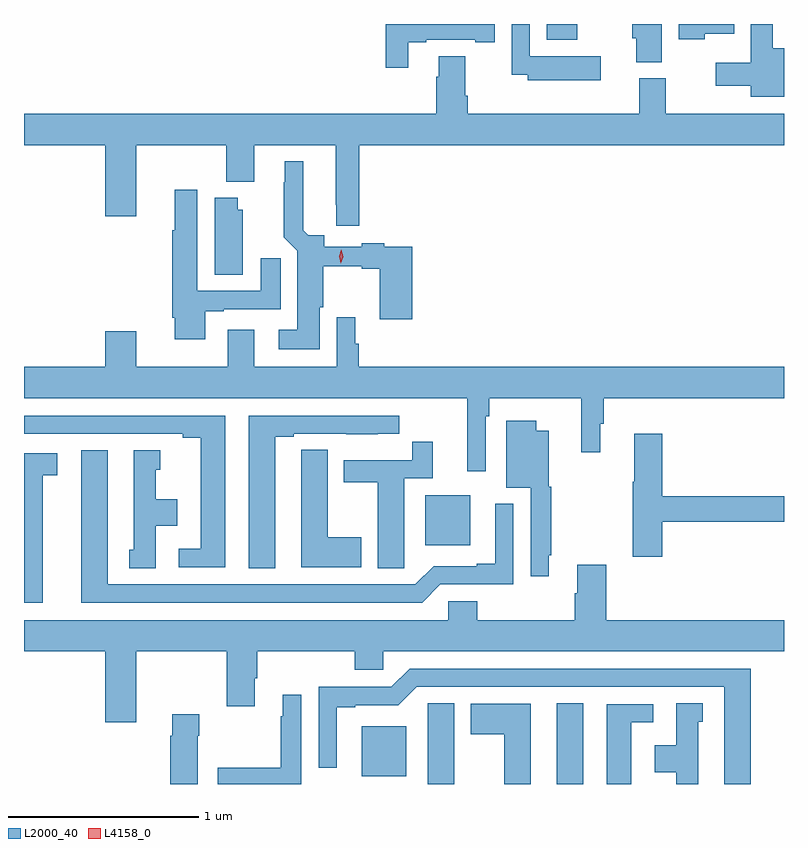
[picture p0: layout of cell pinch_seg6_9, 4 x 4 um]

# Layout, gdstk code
import gdstk
lib = gdstk.Library(unit=1e-6, precision=1e-09)
def R(c, l, rs):  # rectangles x0, y0, x1, y1
    for r in rs: c.add(gdstk.rectangle(r[:2], r[2:], *l))
def P(c, l, *ps):  # polygons
    for p in ps: c.add(gdstk.Polygon(p, *l))
L2000_40 = (2000, 40)
L4158_0 = (4158, 0)

pinch_seg6_9 = lib.new_cell('pinch_seg6_9')
R(pinch_seg6_9, L2000_40, [(1090.46,966.617,1090.6,967.043), (1089.434,966.659,1089.67,966.922), (1089.77,967.874,1090.006,968.137), (1090.409,970.535,1090.57,970.617)])
P(pinch_seg6_9, L2000_40, [(1090.693,970.447),(1090.32,970.447),(1090.32,970.617),(1090.224,970.617),(1090.224,970.349),(1090.308,970.349),(1090.308,970.322),(1090.693,970.322)],
  [(1091.657,970.489),(1091.599,970.489),(1091.599,970.617),(1091.483,970.617),(1091.483,970.414),(1091.298,970.414),(1091.298,970.292),(1091.483,970.292),(1091.483,970.235),(1091.657,970.235)],
  [(1091.014,970.617),(1090.859,970.617),(1090.859,970.542),(1090.88,970.542),(1090.88,970.417),(1091.014,970.417)],
  [(1089.679,970.521),(1089.775,970.521),(1089.775,970.533),(1090.031,970.533),(1090.031,970.521),(1090.135,970.521),(1090.135,970.617),(1089.562,970.617),(1089.562,970.386),(1089.679,970.386)],
  [(1091.241,970.565),(1091.395,970.565),(1091.395,970.617),(1091.102,970.617),(1091.102,970.538),(1091.241,970.538)],
  [(1089.422,969.98),(1091.657,969.98),(1091.657,970.144),(1091.035,970.144),(1091.035,970.332),(1090.895,970.332),(1090.895,970.144),(1089.992,970.144),(1089.992,970.24),(1089.979,970.24),(1089.979,970.448),(1089.839,970.448),(1089.839,970.34),(1089.827,970.34),(1089.827,970.144),(1087.657,970.144),(1087.657,969.98),(1088.084,969.98),(1088.084,969.606),(1088.248,969.606),(1088.248,969.98),(1088.722,969.98),(1088.722,969.788),(1088.869,969.788),(1088.869,969.98),(1089.299,969.98),(1089.299,969.667),(1089.3,969.667),(1089.3,969.555),(1089.422,969.555)],
  [(1089.214,969.126),(1089.232,969.126),(1089.232,969.343),(1089.434,969.343),(1089.434,969.328),(1089.53,969.328),(1089.53,969.063),(1089.701,969.063),(1089.701,969.444),(1089.554,969.444),(1089.554,969.464),(1089.434,969.464),(1089.434,969.444),(1089.237,969.444),(1089.237,969.504),(1089.154,969.504),(1089.127,969.532),(1089.127,969.895),(1089.029,969.895),(1089.029,969.785),(1089.025,969.785),(1089.025,969.494),(1089.095,969.424),(1089.095,969.007),(1088.997,969.007),(1088.997,968.906),(1089.214,968.906)],
  [(1088.611,969.105),(1088.707,969.105),(1088.707,969.117),(1089.007,969.117),(1089.007,969.385),(1088.903,969.385),(1088.903,969.213),(1088.569,969.213),(1088.569,969.745),(1088.45,969.745),(1088.45,969.532),(1088.438,969.532),(1088.438,969.07),(1088.45,969.07),(1088.45,968.958),(1088.611,968.958)],
  [(1088.809,969.639),(1088.782,969.639),(1088.782,969.703),(1088.66,969.703),(1088.66,969.298),(1088.809,969.298)],
  [(1090.086,968.552),(1090.106,968.552),(1090.106,968.648),(1090.591,968.648),(1090.591,968.364),(1090.69,968.364),(1090.69,968.514),(1090.709,968.514),(1090.709,968.648),(1091.657,968.648),(1091.657,968.812),(1089.419,968.812),(1089.419,968.934),(1089.4,968.934),(1089.4,969.073),(1089.303,969.073),(1089.303,968.812),(1088.869,968.812),(1088.869,969.007),(1088.729,969.007),(1088.729,968.812),(1088.248,968.812),(1088.248,969.001),(1088.084,969.001),(1088.084,968.812),(1087.657,968.812),(1087.657,968.648),(1089.989,968.648),(1089.989,968.262),(1090.086,968.262)],
  [(1088.716,968.556),(1087.657,968.556),(1087.657,968.46),(1088.492,968.46),(1088.492,968.44),(1088.588,968.44),(1088.588,967.854),(1088.472,967.854),(1088.472,967.758),(1088.716,967.758)],
  [(1088.98,968.445),(1089.076,968.445),(1089.076,968.46),(1089.352,968.46),(1089.352,968.459),(1089.518,968.459),(1089.518,968.46),(1089.631,968.46),(1089.631,968.556),(1088.84,968.556),(1088.84,967.753),(1088.98,967.753)],
  [(1090.42,967.822),(1090.432,967.822),(1090.432,968.181),(1090.42,968.181),(1090.42,968.476),(1090.354,968.476),(1090.354,968.53),(1090.196,968.53),(1090.196,968.177),(1090.323,968.177),(1090.323,967.71),(1090.42,967.71)],
  [(1091.015,967.996),(1091.657,967.996),(1091.657,968.132),(1091.015,968.132),(1091.015,968.461),(1090.868,968.461),(1090.868,968.209),(1090.861,968.209),(1090.861,967.812),(1091.015,967.812)],
  [(1089.657,967.864),(1089.658,967.864),(1089.658,968.226),(1089.809,968.226),(1089.809,968.419),(1089.7,968.419),(1089.7,968.322),(1089.341,968.322),(1089.341,968.206),(1089.518,968.206),(1089.518,967.753),(1089.657,967.753)],
  [(1089.433,967.917),(1089.256,967.917),(1089.256,968.375),(1089.117,968.375),(1089.117,968.267),(1089.116,968.267),(1089.116,967.757),(1089.433,967.757)],
  [(1089.849,967.668),(1090.233,967.668),(1090.233,968.092),(1090.136,968.092),(1090.136,967.777),(1090.04,967.777),(1090.04,967.764),(1089.813,967.764),(1089.717,967.668),(1088.098,967.668),(1088.098,968.374),(1087.958,968.374),(1087.958,967.572),(1089.753,967.572)],
  [(1088.35,967.976),(1088.464,967.976),(1088.464,968.116),(1088.35,968.116),(1088.35,968.271),(1088.374,968.271),(1088.374,968.374),(1088.234,968.374),(1088.234,967.851),(1088.21,967.851),(1088.21,967.753),(1088.35,967.753)],
  [(1087.756,968.242),(1087.831,968.242),(1087.831,968.358),(1087.657,968.358),(1087.657,967.572),(1087.756,967.572)],
  [(1088.248,967.316),(1088.725,967.316),(1088.725,967.026),(1088.872,967.026),(1088.872,967.174),(1088.885,967.174),(1088.885,967.316),(1089.398,967.316),(1089.398,967.218),(1089.549,967.218),(1089.549,967.316),(1091.657,967.316),(1091.657,967.48),(1090.721,967.48),(1090.721,967.771),(1090.568,967.771),(1090.568,967.622),(1090.556,967.622),(1090.556,967.48),(1090.043,967.48),(1090.043,967.578),(1089.891,967.578),(1089.891,967.48),(1087.657,967.48),(1087.657,967.316),(1088.084,967.316),(1088.084,966.942),(1088.248,966.942)],
  [(1091.482,967.224),(1089.687,967.224),(1089.591,967.128),(1089.207,967.128),(1089.207,966.702),(1089.304,966.702),(1089.304,967.02),(1089.4,967.02),(1089.4,967.032),(1089.627,967.032),(1089.723,967.128),(1091.342,967.128),(1091.342,966.617),(1091.482,966.617)],
  [(1089.117,967.087),(1089.02,967.087),(1089.02,966.974),(1089.009,966.974),(1089.009,966.702),(1088.676,966.702),(1088.676,966.617),(1089.117,966.617)],
  [(1089.922,967.043),(1089.783,967.043),(1089.783,966.932),(1089.782,966.932),(1089.782,966.617),(1089.922,966.617)],
  [(1091.206,966.945),(1091.23,966.945),(1091.23,967.043),(1091.09,967.043),(1091.09,966.82),(1090.976,966.82),(1090.976,966.68),(1091.09,966.68),(1091.09,966.617),(1091.206,966.617)],
  [(1090.324,967.039),(1090.007,967.039),(1090.007,966.88),(1090.184,966.88),(1090.184,966.617),(1090.324,966.617)],
  [(1090.852,966.942),(1090.969,966.942),(1090.969,967.038),(1090.724,967.038),(1090.724,966.617),(1090.852,966.617)],
  [(1088.572,966.872),(1088.58,966.872),(1088.58,966.985),(1088.438,966.985),(1088.438,966.872),(1088.426,966.872),(1088.426,966.617),(1088.572,966.617)])
P(pinch_seg6_9, L4158_0, [(1089.324,969.358),(1089.316,969.394),(1089.327,969.429),(1089.327,969.429),(1089.328,969.429),(1089.336,969.393),(1089.325,969.358),(1089.325,969.358)])

lib.write_gds('pinch_seg6_9.gds')
